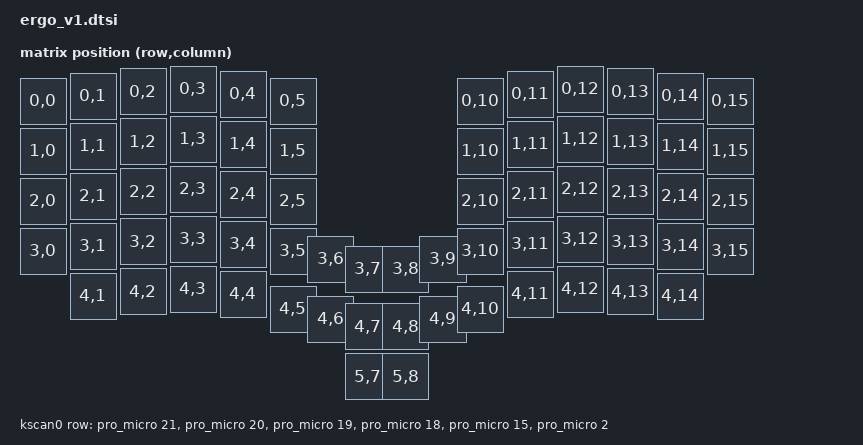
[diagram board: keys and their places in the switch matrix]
#include <dt-bindings/zmk/matrix_transform.h>
#include <physical_layouts.dtsi>

/ {
    chosen {
        zmk,kscan = &kscan0;
        zmk,matrix-transform = &default_transform;
        zmk,physical-layout = &physical_layout0;
    };

    default_transform: keymap_transform_0 {
        compatible = "zmk,matrix-transform";
        columns = <16>;
        rows = <6>;
        map = 
RC(0,0) RC(0,1) RC(0,2) RC(0,3) RC(0,4) RC(0,5)                                                     RC(0,10) RC(0,11) RC(0,12) RC(0,13) RC(0,14) RC(0,15)
RC(1,0) RC(1,1) RC(1,2) RC(1,3) RC(1,4) RC(1,5)                                                     RC(1,10) RC(1,11) RC(1,12) RC(1,13) RC(1,14) RC(1,15)
RC(2,0) RC(2,1) RC(2,2) RC(2,3) RC(2,4) RC(2,5)                                                     RC(2,10) RC(2,11) RC(2,12) RC(2,13) RC(2,14) RC(2,15)
RC(3,0) RC(3,1) RC(3,2) RC(3,3) RC(3,4) RC(3,5)         RC(3,6) RC(3,7)     RC(3,8) RC(3,9)         RC(3,10) RC(3,11) RC(3,12) RC(3,13) RC(3,14) RC(3,15)
        RC(4,1) RC(4,2) RC(4,3) RC(4,4)         RC(4,5) RC(4,6) RC(4,7)     RC(4,8) RC(4,9) RC(4,10)         RC(4,11) RC(4,12) RC(4,13) RC(4,14)
                                                                RC(5,7)     RC(5,8)
        >;
    };

    kscan0: kscan {
        compatible = "zmk,kscan-gpio-matrix";
        diode-direction = "col2row";
        wakeup-source;

        row-gpios
            = <&pro_micro 21 (GPIO_ACTIVE_HIGH | GPIO_PULL_DOWN)>
            , <&pro_micro 20 (GPIO_ACTIVE_HIGH | GPIO_PULL_DOWN)>
            , <&pro_micro 19 (GPIO_ACTIVE_HIGH | GPIO_PULL_DOWN)>
            , <&pro_micro 18 (GPIO_ACTIVE_HIGH | GPIO_PULL_DOWN)>
            , <&pro_micro 15 (GPIO_ACTIVE_HIGH | GPIO_PULL_DOWN)>
            , <&pro_micro 2 (GPIO_ACTIVE_HIGH | GPIO_PULL_DOWN)>
            ;
    };

    physical_layout0: physical_layout_0 {
        compatible = "zmk,physical-layout";
        display-name = "Default";
        transform = <&default_transform>;
        kscan = <&kscan0>;

        keys  //                     w   h     x    y   r  rx  ry
            = <&key_physical_attrs 100 100     0   24   0   0   0>
            , <&key_physical_attrs 100 100   100   14   0   0   0>
            , <&key_physical_attrs 100 100   200    5   0   0   0>
            , <&key_physical_attrs 100 100   300    0   0   0   0>
            , <&key_physical_attrs 100 100   400   10   0   0   0>
            , <&key_physical_attrs 100 100   500   24   0   0   0>
            , <&key_physical_attrs 100 100   875   24   0   0   0>
            , <&key_physical_attrs 100 100   975   10   0   0   0>
            , <&key_physical_attrs 100 100  1075    0   0   0   0>
            , <&key_physical_attrs 100 100  1175    5   0   0   0>
            , <&key_physical_attrs 100 100  1275   14   0   0   0>
            , <&key_physical_attrs 100 100  1375   24   0   0   0>
            , <&key_physical_attrs 100 100     0  124   0   0   0>
            , <&key_physical_attrs 100 100   100  114   0   0   0>
            , <&key_physical_attrs 100 100   200  105   0   0   0>
            , <&key_physical_attrs 100 100   300  100   0   0   0>
            , <&key_physical_attrs 100 100   400  110   0   0   0>
            , <&key_physical_attrs 100 100   500  124   0   0   0>
            , <&key_physical_attrs 100 100   875  124   0   0   0>
            , <&key_physical_attrs 100 100   975  110   0   0   0>
            , <&key_physical_attrs 100 100  1075  100   0   0   0>
            , <&key_physical_attrs 100 100  1175  105   0   0   0>
            , <&key_physical_attrs 100 100  1275  114   0   0   0>
            , <&key_physical_attrs 100 100  1375  124   0   0   0>
            , <&key_physical_attrs 100 100     0  224   0   0   0>
            , <&key_physical_attrs 100 100   100  214   0   0   0>
            , <&key_physical_attrs 100 100   200  205   0   0   0>
            , <&key_physical_attrs 100 100   300  200   0   0   0>
            , <&key_physical_attrs 100 100   400  210   0   0   0>
            , <&key_physical_attrs 100 100   500  224   0   0   0>
            , <&key_physical_attrs 100 100   875  224   0   0   0>
            , <&key_physical_attrs 100 100   975  210   0   0   0>
            , <&key_physical_attrs 100 100  1075  200   0   0   0>
            , <&key_physical_attrs 100 100  1175  205   0   0   0>
            , <&key_physical_attrs 100 100  1275  214   0   0   0>
            , <&key_physical_attrs 100 100  1375  224   0   0   0>
            , <&key_physical_attrs 100 100     0  324   0   0   0>
            , <&key_physical_attrs 100 100   100  314   0   0   0>
            , <&key_physical_attrs 100 100   200  305   0   0   0>
            , <&key_physical_attrs 100 100   300  300   0   0   0>
            , <&key_physical_attrs 100 100   400  310   0   0   0>
            , <&key_physical_attrs 100 100   500  324   0   0   0>
            , <&key_physical_attrs 100 100   575  340   0   0   0>
            , <&key_physical_attrs 100 100   650  360   0   0   0>
            , <&key_physical_attrs 100 100   725  360   0   0   0>
            , <&key_physical_attrs 100 100   800  340   0   0   0>
            , <&key_physical_attrs 100 100   875  324   0   0   0>
            , <&key_physical_attrs 100 100   975  310   0   0   0>
            , <&key_physical_attrs 100 100  1075  300   0   0   0>
            , <&key_physical_attrs 100 100  1175  305   0   0   0>
            , <&key_physical_attrs 100 100  1275  314   0   0   0>
            , <&key_physical_attrs 100 100  1375  324   0   0   0>
            , <&key_physical_attrs 100 100   100  414   0   0   0>
            , <&key_physical_attrs 100 100   200  405   0   0   0>
            , <&key_physical_attrs 100 100   300  400   0   0   0>
            , <&key_physical_attrs 100 100   400  410   0   0   0>
            , <&key_physical_attrs 100 100   500  440   0   0   0>
            , <&key_physical_attrs 100 100   575  460   0   0   0>
            , <&key_physical_attrs 100 100   650  475   0   0   0>
            , <&key_physical_attrs 100 100   725  475   0   0   0>
            , <&key_physical_attrs 100 100   800  460   0   0   0>
            , <&key_physical_attrs 100 100   875  440   0   0   0>
            , <&key_physical_attrs 100 100   975  410   0   0   0>
            , <&key_physical_attrs 100 100  1075  400   0   0   0>
            , <&key_physical_attrs 100 100  1175  405   0   0   0>
            , <&key_physical_attrs 100 100  1275  414   0   0   0>
            , <&key_physical_attrs 100 100   650  575   0   0   0>
            , <&key_physical_attrs 100 100   725  575   0   0   0>
            ;
    };
};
